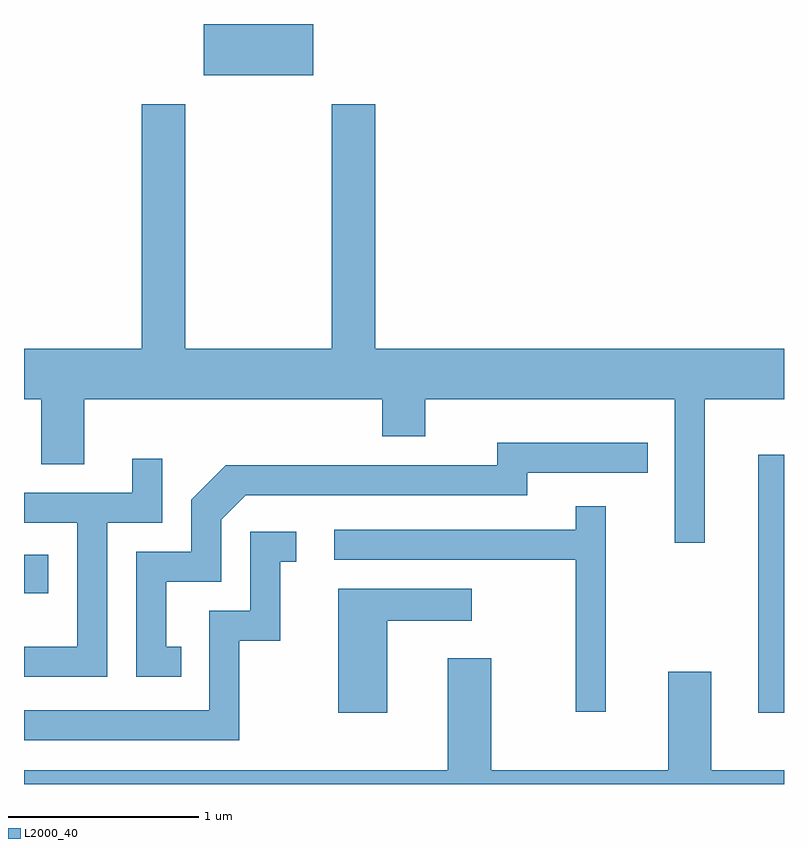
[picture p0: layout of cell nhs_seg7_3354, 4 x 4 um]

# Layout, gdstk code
import gdstk
lib = gdstk.Library(unit=1e-6, precision=1e-09)
def R(c, l, rs):  # rectangles x0, y0, x1, y1
    for r in rs: c.add(gdstk.rectangle(r[:2], r[2:], *l))
def P(c, l, *ps):  # polygons
    for p in ps: c.add(gdstk.Polygon(p, *l))
L2000_40 = (2000, 40)

nhs_seg7_3354 = lib.new_cell('nhs_seg7_3354')
R(nhs_seg7_3354, L2000_40, [(291.476,1752.626,291.611,1753.984), (287.611,1753.256,287.739,1753.459), (288.556,1755.981,289.134,1756.252)])
P(nhs_seg7_3354, L2000_40, [(291.194,1754.276),(291.611,1754.276),(291.611,1754.544),(289.459,1754.544),(289.459,1755.829),(289.231,1755.829),(289.231,1754.544),(288.459,1754.544),(288.459,1755.829),(288.231,1755.829),(288.231,1754.544),(287.611,1754.544),(287.611,1754.276),(287.701,1754.276),(287.701,1753.936),(287.929,1753.936),(287.929,1754.276),(289.496,1754.276),(289.496,1754.081),(289.724,1754.081),(289.724,1754.276),(291.036,1754.276),(291.036,1753.523),(291.194,1753.523)],
  [(288.438,1752.974),(288.359,1752.974),(288.359,1753.316),(288.649,1753.316),(288.649,1753.644),(288.777,1753.771),(290.259,1753.771),(290.259,1753.891),(290.893,1753.891),(290.893,1754.049),(290.101,1754.049),(290.101,1753.929),(288.674,1753.929),(288.491,1753.747),(288.491,1753.474),(288.201,1753.474),(288.201,1752.816),(288.438,1752.816)],
  [(288.049,1753.626),(288.339,1753.626),(288.339,1753.963),(288.181,1753.963),(288.181,1753.784),(287.611,1753.784),(287.611,1753.626),(287.891,1753.626),(287.891,1752.974),(287.611,1752.974),(287.611,1752.816),(288.049,1752.816)],
  [(290.674,1753.713),(290.516,1753.713),(290.516,1753.589),(289.243,1753.589),(289.243,1753.431),(290.516,1753.431),(290.516,1752.633),(290.674,1752.633)],
  [(288.744,1753.006),(288.959,1753.006),(288.959,1753.421),(289.043,1753.421),(289.043,1753.579),(288.801,1753.579),(288.801,1753.164),(288.586,1753.164),(288.586,1752.639),(287.611,1752.639),(287.611,1752.481),(288.744,1752.481)],
  [(289.524,1753.111),(289.968,1753.111),(289.968,1753.279),(289.266,1753.279),(289.266,1752.626),(289.524,1752.626)],
  [(291.611,1752.324),(291.229,1752.324),(291.229,1752.844),(291.001,1752.844),(291.001,1752.324),(290.069,1752.324),(290.069,1752.914),(289.841,1752.914),(289.841,1752.324),(287.611,1752.324),(287.611,1752.252),(291.611,1752.252)])

lib.write_gds('nhs_seg7_3354.gds')
